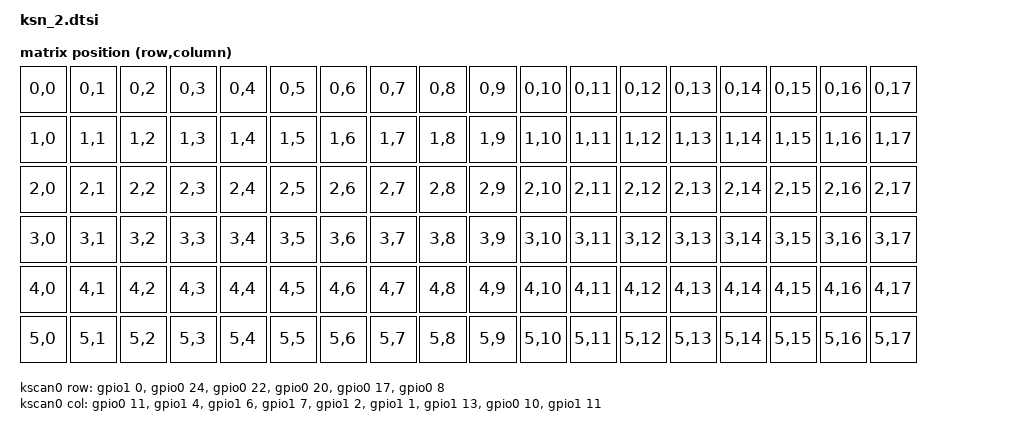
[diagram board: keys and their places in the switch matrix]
#include <dt-bindings/zmk/matrix_transform.h>

/ {
    chosen {
        zmk,kscan            = &kscan0;
        zmk,matrix_transform = &default_transform;
        zmk,battery          = &vbatt;
        zmk,backlight        = &backlight;
    };

    default_transform: matrix_transform {
        compatible = "zmk,matrix-transform";
        columns = <18>;
        rows    = <6>;
        map = <
RC(0,0)  RC(0,1)  RC(0,2)  RC(0,3)  RC(0,4)  RC(0,5)  RC(0,6)  RC(0,7)  RC(0,8)  RC(0,9)  RC(0,10) RC(0,11) RC(0,12) RC(0,13) RC(0,14) RC(0,15) RC(0,16) RC(0,17)
RC(1,0)  RC(1,1)  RC(1,2)  RC(1,3)  RC(1,4)  RC(1,5)  RC(1,6)  RC(1,7)  RC(1,8)  RC(1,9)  RC(1,10) RC(1,11) RC(1,12) RC(1,13) RC(1,14) RC(1,15) RC(1,16) RC(1,17)
RC(2,0)  RC(2,1)  RC(2,2)  RC(2,3)  RC(2,4)  RC(2,5)  RC(2,6)  RC(2,7)  RC(2,8)  RC(2,9)  RC(2,10) RC(2,11) RC(2,12) RC(2,13) RC(2,14) RC(2,15) RC(2,16) RC(2,17)
RC(3,0)  RC(3,1)  RC(3,2)  RC(3,3)  RC(3,4)  RC(3,5)  RC(3,6)  RC(3,7)  RC(3,8)  RC(3,9)  RC(3,10) RC(3,11) RC(3,12) RC(3,13) RC(3,14) RC(3,15) RC(3,16) RC(3,17)
RC(4,0)  RC(4,1)  RC(4,2)  RC(4,3)  RC(4,4)  RC(4,5)  RC(4,6)  RC(4,7)  RC(4,8)  RC(4,9)  RC(4,10) RC(4,11) RC(4,12) RC(4,13) RC(4,14) RC(4,15) RC(4,16) RC(4,17)
RC(5,0)  RC(5,1)  RC(5,2)  RC(5,3)  RC(5,4)  RC(5,5)  RC(5,6)  RC(5,7)  RC(5,8)  RC(5,9)  RC(5,10) RC(5,11) RC(5,12) RC(5,13) RC(5,14) RC(5,15) RC(5,16) RC(5,17)
        >;
    };

    kscan0: kscan {
        compatible      = "zmk,kscan-gpio-matrix";
        diode-direction = "col2row";

        /*
         * Row GPIOs (both halves identical — same pin labels):
         *  row1 = D6  = P1.00  (pin10)
         *  row2 = D5  = P0.24  (pin9)
         *  row3 = D4  = P0.22  (pin8)
         *  row4 = D2  = P0.17  (pin6)
         *  row5 = D0  = P0.08  (pin3)
         *  row6 = D3  = P0.20  (pin7)
         */
        row-gpios
            = <&gpio1 0  GPIO_ACTIVE_HIGH>   /* row1 = D6  = P1.00 */
            , <&gpio0 24 GPIO_ACTIVE_HIGH>   /* row2 = D5  = P0.24 */
            , <&gpio0 22 GPIO_ACTIVE_HIGH>   /* row3 = D4  = P0.22 */
            , <&gpio0 20 GPIO_ACTIVE_HIGH>   /* row4 = D3  = P0.20 */
            , <&gpio0 17 GPIO_ACTIVE_HIGH>   /* row5 = D2  = P0.17 */
            , <&gpio0 8  GPIO_ACTIVE_HIGH>   /* row6 = D0  = P0.08 */
            ;

        /*
         * Col GPIOs (both halves identical — same physical pins):
         *  col1 = D7  = P0.11  (pin11)
         *  col2 = D8  = P1.04  (pin12)
         *  col3 = D9  = P1.06  (pin13)
         *  col4 = P1.07        (pin27)
         *  col5 = P1.02        (pin28)
         *  col6 = P1.01        (pin29)
         *  col7 = D14 = P1.13  (pin24)
         *  col8 = D16 = P0.10  (pin25)
         *  col9 = D10 = P1.11  (pin26)
         */
        col-gpios
            = <&gpio0 11 (GPIO_ACTIVE_HIGH | GPIO_PULL_DOWN)>   /* col1 = D7  = P0.11 */
            , <&gpio1 4  (GPIO_ACTIVE_HIGH | GPIO_PULL_DOWN)>   /* col2 = D8  = P1.04 */
            , <&gpio1 6  (GPIO_ACTIVE_HIGH | GPIO_PULL_DOWN)>   /* col3 = D9  = P1.06 */
            , <&gpio1 7  (GPIO_ACTIVE_HIGH | GPIO_PULL_DOWN)>   /* col4 = P1.07 */
            , <&gpio1 2  (GPIO_ACTIVE_HIGH | GPIO_PULL_DOWN)>   /* col5 = P1.02 */
            , <&gpio1 1  (GPIO_ACTIVE_HIGH | GPIO_PULL_DOWN)>   /* col6 = P1.01 */
            , <&gpio1 13 (GPIO_ACTIVE_HIGH | GPIO_PULL_DOWN)>   /* col7 = D14 = P1.13 */
            , <&gpio0 10 (GPIO_ACTIVE_HIGH | GPIO_PULL_DOWN)>   /* col8 = D16 = P0.10 */
            , <&gpio1 11 (GPIO_ACTIVE_HIGH | GPIO_PULL_DOWN)>   /* col9 = D10 = P1.11 */
            ;
    };

    vbatt: vbatt {
        compatible  = "zmk,battery-voltage-divider";
        io-channels = <&adc 7>;
        output-ohms = <2000000>;
        full-ohms   = <2820000>;
    };
};

&adc { status = "okay"; };
